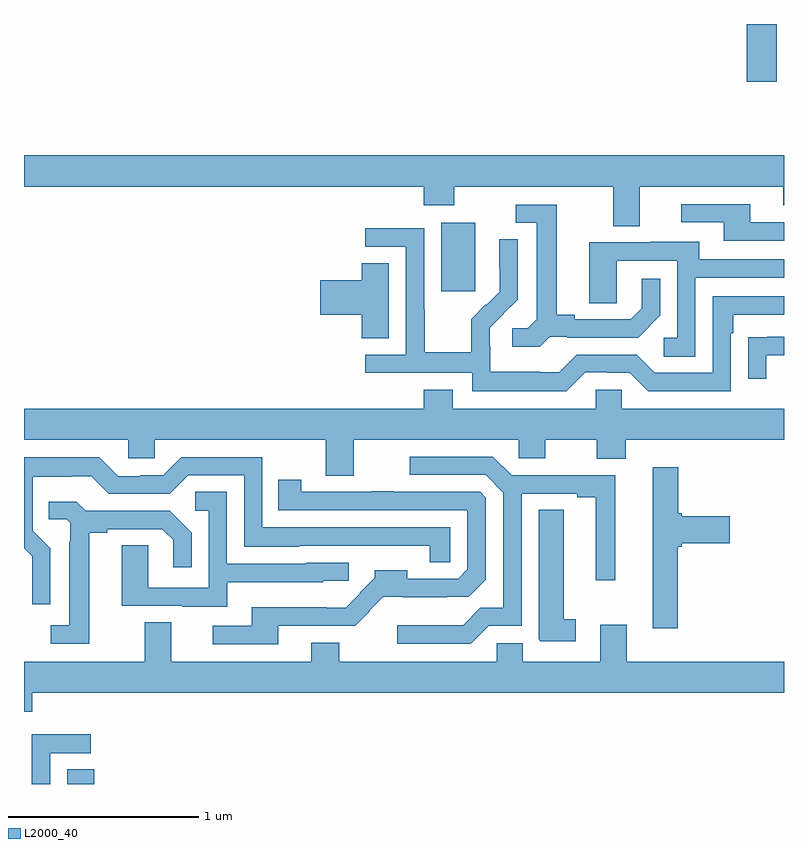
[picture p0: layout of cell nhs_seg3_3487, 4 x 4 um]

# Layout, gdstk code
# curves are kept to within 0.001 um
import gdstk
lib = gdstk.Library(unit=1e-6, precision=1e-09)
def R(c, l, rs):  # rectangles x0, y0, x1, y1
    for r in rs: c.add(gdstk.rectangle(r[:2], r[2:], *l))
def P(c, l, *ps):  # polygons
    for p in ps: c.add(gdstk.Polygon(p, *l))
L2000_40 = (2000, 40)

nhs_seg3_3487 = lib.new_cell('nhs_seg3_3487')
R(nhs_seg3_3487, L2000_40, [(291.227,736.4,291.371,736.478), (293.195,738.993,293.374,739.354), (294.803,740.097,294.963,740.4)])
P(nhs_seg3_3487, L2000_40, [(294.241,739.544),(294.995,739.544),(294.995,739.445),(295,739.445),(295,739.708),(291,739.708),(291,739.544),(293.105,739.544),(293.105,739.445),(293.265,739.445),(293.265,739.544),(294.101,739.544),(294.101,739.336),(294.241,739.336)],
  [(295,739.356),(294.823,739.356),(294.823,739.452),(294.459,739.452),(294.459,739.356),(294.683,739.356),(294.683,739.26),(295,739.26)],
  [(293.766,738.753),(293.86,738.753),(293.86,738.75),(294.232,738.75),(294.348,738.866),(294.348,739.06),(294.251,739.06),(294.251,738.903),(294.194,738.846),(293.899,738.846),(293.899,738.869),(293.803,738.869),(293.803,739.449),(293.589,739.449),(293.589,739.353),(293.699,739.353),(293.699,738.845),(293.652,738.798),(293.571,738.798),(293.571,738.701),(293.714,738.701)],
  [(293.955,738.567),(294.071,738.567),(294.071,738.564),(294.189,738.564),(294.285,738.468),(294.72,738.468),(294.72,738.773),(294.733,738.773),(294.733,738.87),(295,738.87),(295,738.966),(294.624,738.966),(294.624,738.564),(294.321,738.564),(294.225,738.66),(293.91,738.66),(293.817,738.567),(293.717,738.567),(293.717,738.571),(293.454,738.571),(293.454,738.705),(293.452,738.705),(293.452,738.802),(293.598,738.95),(293.598,739.268),(293.502,739.268),(293.502,739.114),(293.504,739.114),(293.504,738.992),(293.433,738.921),(293.43,738.924),(293.353,738.847),(293.353,738.673),(293.109,738.673),(293.109,738.896),(293.106,738.896),(293.106,739.326),(292.797,739.326),(292.797,739.227),(293.01,739.227),(293.01,738.66),(292.797,738.66),(292.797,738.564),(293.358,738.564),(293.358,738.467),(293.855,738.467)],
  [(294.534,739.065),(295,739.065),(295,739.161),(294.553,739.161),(294.553,739.255),(294.299,739.255),(294.299,739.251),(293.975,739.251),(293.975,738.931),(294.12,738.931),(294.12,739.155),(294.438,739.155),(294.438,738.75),(294.366,738.75),(294.366,738.649),(294.534,738.649)],
  [(292.921,739.142),(292.778,739.142),(292.778,739.052),(292.56,739.052),(292.56,738.869),(292.778,738.869),(292.778,738.745),(292.921,738.745)],
  [(294.907,738.657),(295,738.657),(295,738.753),(294.913,738.753),(294.913,738.752),(294.811,738.752),(294.811,738.534),(294.907,738.534)],
  [(292.735,738.212),(293.604,738.212),(293.604,738.114),(293.743,738.114),(293.743,738.212),(294.014,738.212),(294.014,738.113),(294.167,738.113),(294.167,738.212),(295,738.212),(295,738.376),(294.147,738.376),(294.147,738.474),(294.009,738.474),(294.009,738.376),(293.257,738.376),(293.257,738.475),(293.105,738.475),(293.105,738.376),(291,738.376),(291,738.212),(291.549,738.212),(291.549,738.114),(291.687,738.114),(291.687,738.212),(292.588,738.212),(292.588,738.022),(292.735,738.022)],
  [(293.445,737.232),(293.619,737.232),(293.619,737.928),(293.912,737.928),(293.912,737.908),(294.008,737.908),(294.008,737.472),(294.112,737.472),(294.112,738.024),(293.566,738.024),(293.467,738.123),(293.031,738.123),(293.031,738.027),(293.43,738.027),(293.523,737.934),(293.523,737.327),(293.402,737.327),(293.311,737.236),(292.965,737.236),(292.965,737.139),(293.352,737.139)],
  [(291.138,737.64),(291.045,737.733),(291.045,738.017),(291.254,738.017),(291.254,738.021),(291.354,738.021),(291.447,737.928),(291.768,737.928),(291.864,738.024),(292.158,738.024),(292.158,737.648),(292.449,737.648),(292.449,737.655),(293.136,737.654),(293.136,737.566),(293.244,737.566),(293.244,737.751),(292.254,737.751),(292.254,738.12),(291.828,738.12),(291.732,738.024),(291.612,738.024),(291.612,738.021),(291.495,738.021),(291.395,738.121),(291,738.121),(291,737.642),(291.044,737.598),(291.044,737.346),(291.138,737.346)],
  [(294.44,737.648),(294.462,737.648),(294.462,737.666),(294.715,737.666),(294.715,737.808),(294.462,737.808),(294.462,737.826),(294.443,737.826),(294.443,738.067),(294.308,738.067),(294.308,737.22),(294.44,737.22)],
  [(292.339,737.232),(292.743,737.232),(292.819,737.309),(292.817,737.311),(292.891,737.385),(293.225,737.384),(293.225,737.386),(293.341,737.386),(293.43,737.475),(293.43,737.907),(293.4,737.937),(292.943,737.937),(292.943,737.942),(292.831,737.942),(292.831,737.937),(292.458,737.937),(292.458,738.001),(292.339,738.001),(292.339,737.841),(293.334,737.841),(293.334,737.529),(293.286,737.481),(293.017,737.481),(293.017,737.524),(292.846,737.524),(292.846,737.485),(292.767,737.406),(292.77,737.403),(292.694,737.327),(292.592,737.327),(292.592,737.329),(292.199,737.329),(292.199,737.232),(291.993,737.232),(291.993,737.136),(292.339,737.136)],
  [(292.069,737.462),(292.575,737.462),(292.575,737.469),(292.71,737.469),(292.71,737.565),(292.485,737.565),(292.485,737.559),(292.068,737.559),(292.068,737.939),(291.9,737.939),(291.9,737.838),(291.972,737.838),(291.972,737.433),(291.654,737.433),(291.654,737.657),(291.515,737.657),(291.515,737.337),(291.833,737.337),(291.833,737.333),(292.069,737.333)],
  [(291.343,737.722),(291.439,737.722),(291.439,737.742),(291.728,737.742),(291.785,737.685),(291.785,737.541),(291.882,737.541),(291.882,737.722),(291.766,737.838),(291.324,737.838),(291.276,737.885),(291.13,737.885),(291.13,737.793),(291.225,737.793),(291.243,737.775),(291.243,737.675),(291.239,737.675),(291.239,737.235),(291.141,737.235),(291.141,737.139),(291.343,737.139)],
  [(293.905,737.267),(293.842,737.267),(293.842,737.843),(293.708,737.843),(293.708,737.161),(293.718,737.151),(293.905,737.151)],
  [(291.044,736.88),(295,736.88),(295,737.044),(294.172,737.044),(294.172,737.239),(294.032,737.239),(294.032,737.044),(293.626,737.044),(293.626,737.142),(293.487,737.142),(293.487,737.044),(292.659,737.044),(292.659,737.143),(292.511,737.143),(292.511,737.044),(291.775,737.044),(291.775,737.252),(291.635,737.252),(291.635,737.044),(291,737.044),(291,736.781),(291.044,736.781)],
  [(291.138,736.563),(291.352,736.563),(291.352,736.662),(291.042,736.662),(291.042,736.4),(291.138,736.4)])

lib.write_gds('nhs_seg3_3487.gds')
